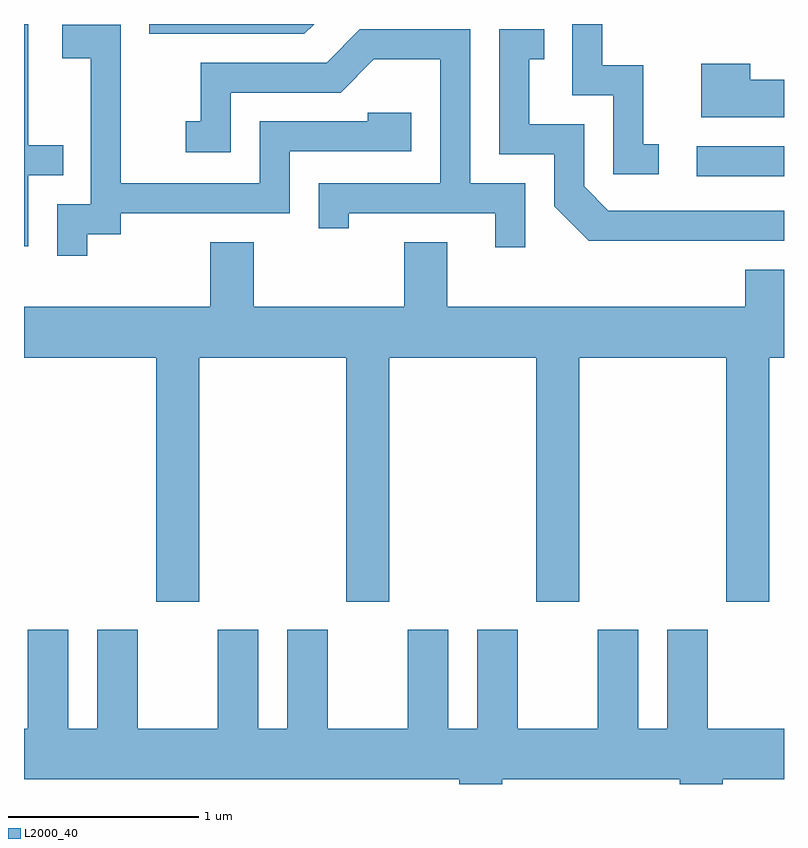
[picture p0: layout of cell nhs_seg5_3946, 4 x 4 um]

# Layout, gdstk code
import gdstk
lib = gdstk.Library(unit=1e-6, precision=1e-09)
def R(c, l, rs):  # rectangles x0, y0, x1, y1
    for r in rs: c.add(gdstk.rectangle(r[:2], r[2:], *l))
def P(c, l, *ps):  # polygons
    for p in ps: c.add(gdstk.Polygon(p, *l))
L2000_40 = (2000, 40)

nhs_seg5_3946 = lib.new_cell('nhs_seg5_3946')
R(nhs_seg5_3946, L2000_40, [(305.153,1493.271,305.611,1493.429)])
P(nhs_seg5_3946, L2000_40, [(304.953,1493.439),(304.869,1493.439),(304.869,1493.854),(304.654,1493.854),(304.654,1494.072),(304.496,1494.072),(304.496,1493.696),(304.711,1493.696),(304.711,1493.281),(304.953,1493.281)],
  [(303.138,1494.072),(302.271,1494.072),(302.271,1494.021),(303.087,1494.021)],
  [(301.634,1493.276),(301.818,1493.276),(301.818,1493.434),(301.634,1493.434),(301.634,1494.072),(301.611,1494.072),(301.611,1492.901),(301.634,1492.901)],
  [(301.944,1492.966),(302.119,1492.966),(302.119,1493.076),(303.009,1493.076),(303.009,1493.401),(303.649,1493.401),(303.649,1493.604),(303.421,1493.604),(303.421,1493.559),(302.851,1493.559),(302.851,1493.234),(302.119,1493.234),(302.119,1494.069),(301.811,1494.069),(301.811,1493.891),(301.961,1493.891),(301.961,1493.124),(301.786,1493.124),(301.786,1492.853),(301.944,1492.853)],
  [(305.611,1493.089),(304.687,1493.089),(304.559,1493.217),(304.559,1493.544),(304.269,1493.544),(304.269,1493.886),(304.348,1493.886),(304.348,1494.044),(304.111,1494.044),(304.111,1493.386),(304.401,1493.386),(304.401,1493.114),(304.584,1492.931),(305.611,1492.931)],
  [(304.249,1493.234),(303.959,1493.234),(303.959,1494.044),(303.379,1494.044),(303.204,1493.869),(302.541,1493.869),(302.541,1493.559),(302.463,1493.559),(302.463,1493.396),(302.699,1493.396),(302.699,1493.711),(303.277,1493.711),(303.452,1493.886),(303.801,1493.886),(303.801,1493.234),(303.161,1493.234),(303.161,1492.998),(303.319,1492.998),(303.319,1493.076),(304.091,1493.076),(304.091,1492.898),(304.249,1492.898)],
  [(305.611,1493.779),(305.434,1493.779),(305.434,1493.864),(305.176,1493.864),(305.176,1493.581),(305.611,1493.581)],
  [(302.534,1492.316),(303.306,1492.316),(303.306,1491.031),(303.534,1491.031),(303.534,1492.316),(304.306,1492.316),(304.306,1491.031),(304.534,1491.031),(304.534,1492.316),(305.306,1492.316),(305.306,1491.031),(305.534,1491.031),(305.534,1492.316),(305.611,1492.316),(305.611,1492.779),(305.406,1492.779),(305.406,1492.584),(303.839,1492.584),(303.839,1492.924),(303.611,1492.924),(303.611,1492.584),(302.819,1492.584),(302.819,1492.924),(302.591,1492.924),(302.591,1492.584),(301.611,1492.584),(301.611,1492.316),(302.306,1492.316),(302.306,1491.031),(302.534,1491.031)],
  [(304.129,1490.096),(305.061,1490.096),(305.061,1490.072),(305.289,1490.072),(305.289,1490.096),(305.611,1490.096),(305.611,1490.364),(305.209,1490.364),(305.209,1490.884),(304.996,1490.884),(304.996,1490.364),(304.844,1490.364),(304.844,1490.884),(304.631,1490.884),(304.631,1490.364),(304.209,1490.364),(304.209,1490.884),(303.996,1490.884),(303.996,1490.364),(303.844,1490.364),(303.844,1490.884),(303.631,1490.884),(303.631,1490.364),(303.209,1490.364),(303.209,1490.884),(302.996,1490.884),(302.996,1490.364),(302.844,1490.364),(302.844,1490.884),(302.631,1490.884),(302.631,1490.364),(302.209,1490.364),(302.209,1490.884),(301.996,1490.884),(301.996,1490.364),(301.844,1490.364),(301.844,1490.884),(301.631,1490.884),(301.631,1490.364),(301.611,1490.364),(301.611,1490.096),(303.901,1490.096),(303.901,1490.072),(304.129,1490.072)])

lib.write_gds('nhs_seg5_3946.gds')
